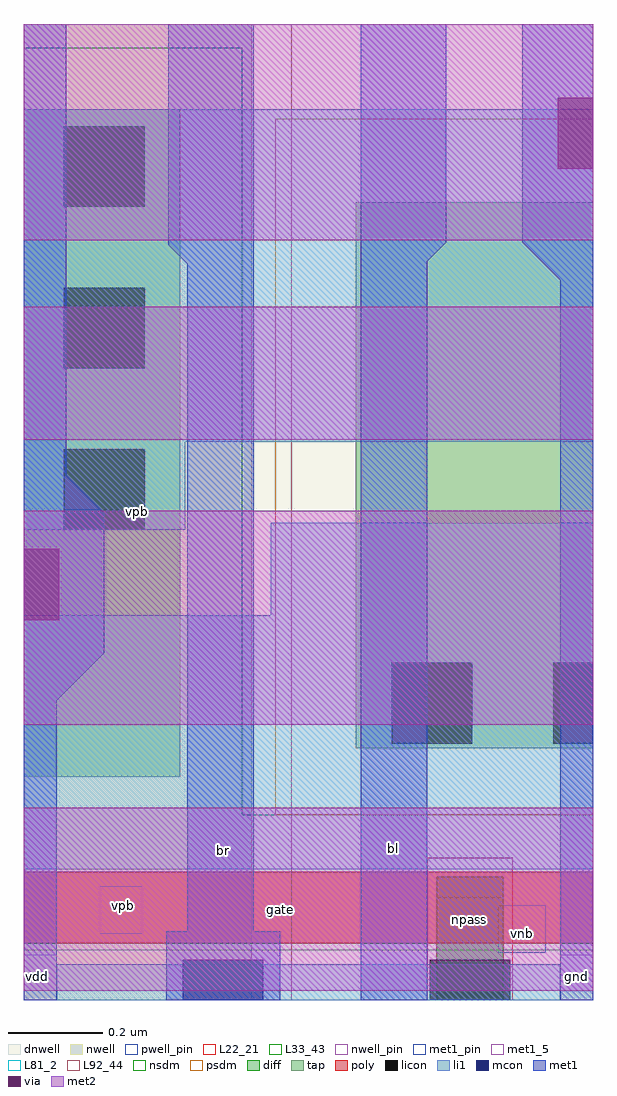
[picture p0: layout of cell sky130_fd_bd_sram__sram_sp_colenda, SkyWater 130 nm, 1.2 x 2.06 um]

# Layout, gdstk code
import gdstk
lib = gdstk.Library(unit=1e-6, precision=1e-09)
def R(c, l, rs):  # rectangles x0, y0, x1, y1
    for r in rs: c.add(gdstk.rectangle(r[:2], r[2:], *l))
def A(c, l, x, y, w, h, nx, ny, dx, dy):  # array of equal rectangles
    R(c, l, [(x+i*dx, y+j*dy, x+i*dx+w, y+j*dy+h) for i in range(nx) for j in range(ny)])
def P(c, l, *ps):  # polygons
    for p in ps: c.add(gdstk.Polygon(p, *l))
L22_21 = (22, 21)
L33_43 = (33, 43)
nwell_pin = (64, 16)
dnwell = (64, 18)
nwell = (64, 20)
diff = (65, 20)
tap = (65, 44)
poly = (66, 20)
licon = (66, 44)
li1 = (67, 20)
mcon = (67, 44)
met1_5 = (68, 5)
met1_pin = (68, 16)
met1 = (68, 20)
via = (68, 44)
met2 = (69, 20)
L81_2 = (81, 2)
L92_44 = (92, 44)
nsdm = (93, 44)
psdm = (94, 20)
pwell_pin = (122, 16)

sky130_fd_bd_sram__sram_ = lib.new_cell('sky130_fd_bd_sram__sram_sp_colenda')
P(sky130_fd_bd_sram__sram_, L22_21, [(0.85,0),(0.85,0.3),(1.03,0.3),(1.03,0),(1.01,0),(1.01,0.215),(0.87,0.215),(0.87,0)])
R(sky130_fd_bd_sram__sram_, L33_43, [(0,0.105,1.2,0.12)])
R(sky130_fd_bd_sram__sram_, nwell_pin, [(0.16,0.14,0.25,0.24)])
R(sky130_fd_bd_sram__sram_, dnwell, [(0,0,1.2,2.055)])
R(sky130_fd_bd_sram__sram_, nwell, [(0,0,0.48,2.055), (0,0,0.48,2.055)])
R(sky130_fd_bd_sram__sram_, diff, [(0.87,0,1.01,0.26)])
R(sky130_fd_bd_sram__sram_, tap, [(0,0.47,0.33,1.875), (0.7,0.53,1.2,1.68)])
R(sky130_fd_bd_sram__sram_, poly, [(0,0.12,1.2,0.27), (0,0.12,1.2,0.27)])
A(sky130_fd_bd_sram__sram_, licon, 0.085, 0.99, 0.17, 0.17, 1, 3, 0, 0.34)
R(sky130_fd_bd_sram__sram_, licon, [(0.855,0,1.025,0.085), (0.775,0.54,0.945,0.71), (1.115,0.54,1.2,0.71)])
R(sky130_fd_bd_sram__sram_, li1, [(0.07,0,1.13,0.075)])
P(sky130_fd_bd_sram__sram_, li1, [(0,0.99),(0,1.875),(1.2,1.875),(1.2,1.175),(0.34,1.175),(0.34,0.99)],
  [(0,0.275),(0,0.81),(0.52,0.81),(0.52,1.005),(1.2,1.005),(1.2,0.275)])
R(sky130_fd_bd_sram__sram_, mcon, [(0.335,0,0.505,0.085)])
R(sky130_fd_bd_sram__sram_, met1_5, [(0,0,0.07,0.095), (1.13,0,1.2,0.095), (0.345,0.275,0.485,0.405), (0.71,0.275,0.85,0.405)])
R(sky130_fd_bd_sram__sram_, met1_pin, [(0,0,0.07,0.095), (1.13,0,1.2,0.095), (0.345,0.275,0.485,0.405), (0.71,0.275,0.85,0.405)])
R(sky130_fd_bd_sram__sram_, met1, [(0,0,0.07,0.095), (1.13,0,1.2,0.095), (0.345,0.275,0.485,0.405), (0.71,0.275,0.85,0.405)])
P(sky130_fd_bd_sram__sram_, met1, [(0,0),(0,2.055),(0.09,2.055),(0.09,1.105),(0.17,1.025),(0.17,0.73),(0.07,0.63),(0.07,0)],
  [(0.3,0),(0.3,0.145),(0.345,0.145),(0.345,1.55),(0.305,1.59),(0.305,2.055),(0.485,2.055),(0.485,0.145),(0.54,0.145),(0.54,0)],
  [(0.71,0),(0.71,2.055),(0.89,2.055),(0.89,1.595),(0.85,1.555),(0.85,0)],
  [(1.13,0),(1.13,1.515),(1.05,1.595),(1.05,2.055),(1.2,2.055),(1.2,0)])
R(sky130_fd_bd_sram__sram_, via, [(0,0.8,0.075,0.95), (1.125,1.75,1.2,1.9)])
R(sky130_fd_bd_sram__sram_, met2, [(0,0.02,1.2,0.405), (0,0.58,1.2,1.03), (0,1.18,1.2,1.46), (0,1.6,1.2,2.055)])
R(sky130_fd_bd_sram__sram_, L81_2, [(0,0,1.2,2.055)])
R(sky130_fd_bd_sram__sram_, L92_44, [(0,0,0.565,2.055), (0,0,0.565,1.875)])
P(sky130_fd_bd_sram__sram_, nsdm, [(0,0),(0,2.005),(0.46,2.005),(0.46,0.39),(1.2,0.39),(1.2,0)])
R(sky130_fd_bd_sram__sram_, psdm, [(0.53,0.39,1.2,1.855)])
R(sky130_fd_bd_sram__sram_, pwell_pin, [(1,0.1,1.1,0.2)])
sky130_fd_bd_sram__sram_.add(gdstk.Label('gate', (0.54,0.19), layer=66, texttype=20))
sky130_fd_bd_sram__sram_.add(gdstk.Label('npass', (0.94,0.17), layer=66, texttype=83))
sky130_fd_bd_sram__sram_.add(gdstk.Label('br', (0.42,0.315), layer=68, texttype=5))
sky130_fd_bd_sram__sram_.add(gdstk.Label('bl', (0.78,0.32), layer=68, texttype=5))
sky130_fd_bd_sram__sram_.add(gdstk.Label('vdd', (0.03,0.05), layer=68, texttype=5))
sky130_fd_bd_sram__sram_.add(gdstk.Label('gnd', (1.165,0.05), layer=68, texttype=5))
sky130_fd_bd_sram__sram_.add(gdstk.Label('vpb', (0.21,0.2), layer=64, texttype=5))
sky130_fd_bd_sram__sram_.add(gdstk.Label('vnb', (1.05,0.14), layer=64, texttype=59))
sky130_fd_bd_sram__sram_.add(gdstk.Label('bl', (0.78,0.34), layer=68, texttype=5))
sky130_fd_bd_sram__sram_.add(gdstk.Label('vdd', (0.035,0.048), layer=68, texttype=5))
sky130_fd_bd_sram__sram_.add(gdstk.Label('gnd', (1.165,0.048), layer=68, texttype=5))
sky130_fd_bd_sram__sram_.add(gdstk.Label('br', (0.415,0.34), layer=68, texttype=5))
sky130_fd_bd_sram__sram_.add(gdstk.Label('gate', (0.6,0.195), layer=66, texttype=5))
sky130_fd_bd_sram__sram_.add(gdstk.Label('vpb', (0.24,1.028), layer=64, texttype=5))

lib.write_gds('sky130_fd_bd_sram__sram_sp_colenda.gds')
